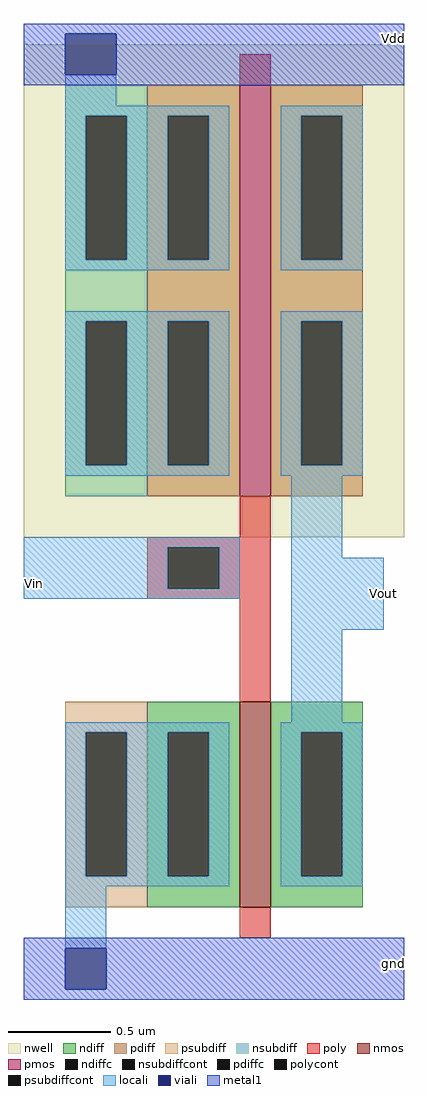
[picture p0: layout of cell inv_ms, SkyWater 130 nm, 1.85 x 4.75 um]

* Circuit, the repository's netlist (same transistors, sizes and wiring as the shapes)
.lib /usr/local/share/pdk/sky130A/libs.tech/ngspice/sky130.lib.spice  tt
X0 Vout Vin Vdd Vdd sky130_fd_pr__pfet_01v8 ad=9e+11p pd=4.9e+06u as=9e+11p ps=4.9e+06u w=2e+06u l=150000u
X1 Vout Vin gnd gnd sky130_fd_pr__nfet_01v8 ad=4.5e+11p pd=2.9e+06u as=4.5e+11p ps=2.9e+06u w=1e+06u l=150000u


Vin Vin GND pulse(0 1.8 1n 1n 1n 4n 8n)
V2 Vdd GND 1.8


.tran 0.01n 60n
.control
run
.endc
.end

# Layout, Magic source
magic
tech sky130A
<< nwell >>
rect -105 180 80 420
<< nmos >>
rect 0 0 15 100
<< pmos >>
rect 0 200 15 400
<< ndiff >>
rect -45 85 0 100
rect -45 15 -35 85
rect -15 15 0 85
rect -45 0 0 15
rect 15 85 60 100
rect 15 15 30 85
rect 50 15 60 85
rect 15 0 60 15
<< pdiff >>
rect -45 385 0 400
rect -45 315 -35 385
rect -15 315 0 385
rect -45 285 0 315
rect -45 215 -35 285
rect -15 215 0 285
rect -45 200 0 215
rect 15 385 60 400
rect 15 315 30 385
rect 50 315 60 385
rect 15 285 60 315
rect 15 215 30 285
rect 50 215 60 285
rect 15 200 60 215
<< ndiffc >>
rect -35 15 -15 85
rect 30 15 50 85
<< pdiffc >>
rect -35 315 -15 385
rect -35 215 -15 285
rect 30 315 50 385
rect 30 215 50 285
<< psubdiff >>
rect -85 85 -45 100
rect -85 15 -75 85
rect -55 15 -45 85
rect -85 0 -45 15
<< nsubdiff >>
rect -85 385 -45 400
rect -85 315 -75 385
rect -55 315 -45 385
rect -85 285 -45 315
rect -85 215 -75 285
rect -55 215 -45 285
rect -85 200 -45 215
<< psubdiffcont >>
rect -75 15 -55 85
<< nsubdiffcont >>
rect -75 315 -55 385
rect -75 215 -55 285
<< poly >>
rect 0 400 15 415
rect 0 180 15 200
rect -45 175 15 180
rect -45 155 -35 175
rect -10 155 15 175
rect -45 150 15 155
rect 0 100 15 150
rect 0 -15 15 0
<< polycont >>
rect -35 155 -10 175
<< locali >>
rect -85 390 -60 405
rect -85 385 -5 390
rect -85 315 -75 385
rect -55 315 -35 385
rect -15 315 -5 385
rect -85 310 -5 315
rect 20 385 60 390
rect 20 315 30 385
rect 50 315 60 385
rect 20 310 60 315
rect -85 285 -5 290
rect -85 215 -75 285
rect -55 215 -35 285
rect -15 215 -5 285
rect -85 210 -5 215
rect 20 285 60 290
rect 20 215 30 285
rect 50 215 60 285
rect 20 210 60 215
rect -105 175 0 180
rect -105 155 -35 175
rect -10 155 0 175
rect -105 150 0 155
rect 25 170 50 210
rect 25 135 70 170
rect 25 90 50 135
rect -85 85 -5 90
rect -85 15 -75 85
rect -55 15 -35 85
rect -15 15 -5 85
rect -85 10 -5 15
rect 20 85 60 90
rect 20 15 30 85
rect 50 15 60 85
rect 20 10 60 15
rect -85 -20 -65 10
<< viali >>
rect -85 405 -60 425
rect -85 -40 -65 -20
<< metal1 >>
rect -105 425 80 430
rect -105 405 -85 425
rect -60 405 80 425
rect -105 400 80 405
rect -105 -20 80 -15
rect -105 -40 -85 -20
rect -65 -40 80 -20
rect -105 -45 80 -40
<< labels >>
rlabel space 60 130 80 175 7 Vout
port 1 w
rlabel space -110 135 -90 180 3 Vin
port 2 e
rlabel space 65 400 85 445 7 Vdd
port 3 w
rlabel space 65 -50 85 -5 7 gnd
port 4 w
<< end >>
